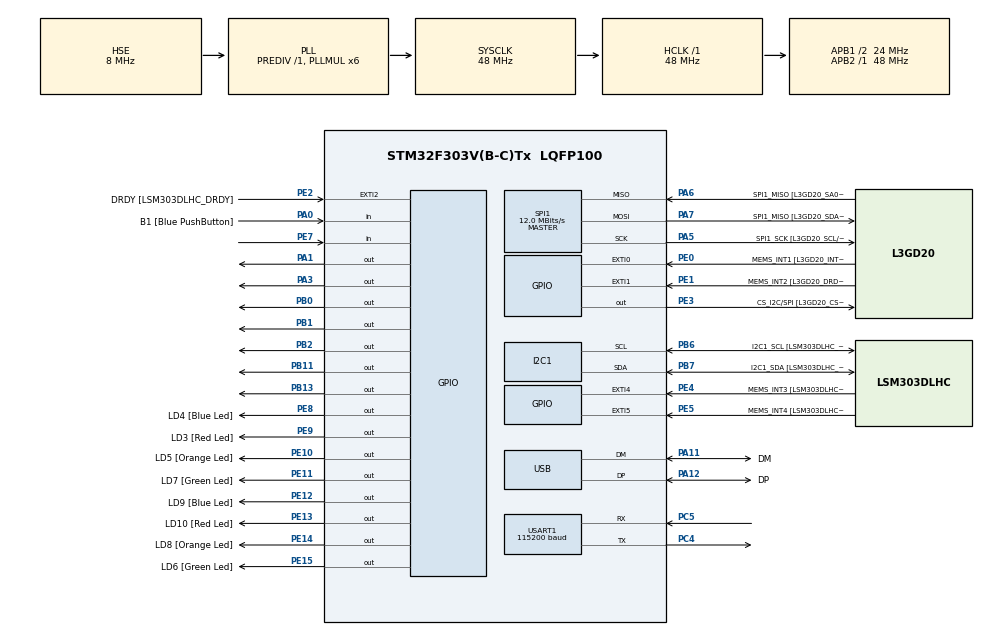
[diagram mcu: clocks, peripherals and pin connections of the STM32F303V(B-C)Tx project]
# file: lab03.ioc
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I2C1.Timing=0x00201D2B
I2C1.Timing-I2C=0x2000090E
Mcu.Family=STM32F3
Mcu.Name=STM32F303V(B-C)Tx
Mcu.Package=LQFP100
NVIC.PriorityGroup=NVIC_PRIORITYGROUP_0
NVIC.USB_LP_CAN_RX0_IRQn=true\:0\:0\:false\:false\:true\:false\:true\:true
PA0.GPIO_Label=B1 [Blue PushButton]
PA0.Signal=GPIO_Input
PA1.Signal=GPIO_Output
PA11.GPIO_Label=DM
PA11.Mode=Device
PA11.Signal=USB_DM
PA12.GPIO_Label=DP
PA12.Mode=Device
PA12.Signal=USB_DP
PA13.GPIO_Label=SWDIO
PA13.Mode=Serial_Wire
PA13.Signal=SYS_JTMS-SWDIO
PA14.GPIO_Label=SWCLK
PA14.Mode=Serial_Wire
PA14.Signal=SYS_JTCK-SWCLK
PA3.Signal=GPIO_Output
PA5.GPIO_Label=SPI1_SCK [L3GD20_SCL/SPC]
PA5.Mode=Full_Duplex_Master
PA5.Signal=SPI1_SCK
PA6.GPIO_Label=SPI1_MISO [L3GD20_SA0/SDO]
PA6.Mode=Full_Duplex_Master
PA6.Signal=SPI1_MISO
PA7.GPIO_Label=SPI1_MISO [L3GD20_SDA/SDI/SDO]
PA7.Mode=Full_Duplex_Master
PA7.Signal=SPI1_MOSI
PB0.Signal=GPIO_Output
PB1.Signal=GPIO_Output
PB11.Signal=GPIO_Output
PB13.Signal=GPIO_Output
PB2.Signal=GPIO_Output
PB3.GPIO_Label=SWO
PB3.Signal=SYS_JTDO-TRACESWO
PB6.GPIO_Label=I2C1_SCL [LSM303DLHC_SCL]
PB6.GPIO_Pu=GPIO_PULLUP
PB6.Mode=I2C
PB6.Signal=I2C1_SCL
PB7.GPIO_Label=I2C1_SDA [LSM303DLHC_SDA]
PB7.GPIO_Pu=GPIO_PULLUP
PB7.Mode=I2C
PB7.Signal=I2C1_SDA
PC14-OSC32_IN.GPIO_Label=OSC32_IN
PC14-OSC32_IN.Signal=RCC_OSC32_IN
PC15-OSC32_OUT.GPIO_Label=OSC32_OUT
PC15-OSC32_OUT.Signal=RCC_OSC32_OUT
PC4.Mode=Asynchronous
PC4.Signal=USART1_TX
PC5.Mode=Asynchronous
PC5.Signal=USART1_RX
PE0.GPIO_Label=MEMS_INT1 [L3GD20_INT1]
PE0.GPIO_ModeDefaultEXTI=GPIO_MODE_EVT_RISING
PE0.Signal=GPXTI0
PE1.GPIO_Label=MEMS_INT2 [L3GD20_DRDY/INT2]
PE1.GPIO_ModeDefaultEXTI=GPIO_MODE_EVT_RISING
PE1.Signal=GPXTI1
PE10.GPIO_Label=LD5 [Orange Led]
PE10.Signal=GPIO_Output
PE11.GPIO_Label=LD7 [Green Led]
PE11.Signal=GPIO_Output
PE12.GPIO_Label=LD9 [Blue Led]
PE12.Signal=GPIO_Output
PE13.GPIO_Label=LD10 [Red Led]
PE13.Signal=GPIO_Output
PE14.GPIO_Label=LD8 [Orange Led]
PE14.Signal=GPIO_Output
PE15.GPIO_Label=LD6 [Green Led]
PE15.Signal=GPIO_Output
PE2.GPIO_Label=DRDY [LSM303DLHC_DRDY]
PE2.GPIO_ModeDefaultEXTI=GPIO_MODE_EVT_RISING
PE2.Signal=GPXTI2
PE3.GPIO_Label=CS_I2C/SPI [L3GD20_CS_I2C/SPI]
PE3.Signal=GPIO_Output
PE4.GPIO_Label=MEMS_INT3 [LSM303DLHC_INT1]
PE4.GPIO_ModeDefaultEXTI=GPIO_MODE_EVT_RISING
PE4.Signal=GPXTI4
PE5.GPIO_Label=MEMS_INT4 [LSM303DLHC_INT2]
PE5.GPIO_ModeDefaultEXTI=GPIO_MODE_EVT_RISING
PE5.Signal=GPXTI5
PE7.Signal=GPIO_Input
PE8.GPIO_Label=LD4 [Blue Led]
PE8.Signal=GPIO_Output
PE9.GPIO_Label=LD3 [Red Led]
PE9.Signal=GPIO_Output
PF0-OSC_IN.GPIO_Label=OSC_IN
PF0-OSC_IN.Mode=HSE-External-Clock-Source
PF0-OSC_IN.Signal=RCC_OSC_IN
PF1-OSC_OUT.GPIO_Label=OSC_OUT
PF1-OSC_OUT.Signal=RCC_OSC_OUT
ProjectManager.HeapSize=0x200
ProjectManager.StackSize=0x400
ProjectManager.TargetToolchain=CMake
RCC.AHBFreq_Value=48000000
RCC.APB1CLKDivider=RCC_HCLK_DIV2
RCC.APB1Freq_Value=24000000
RCC.APB1TimFreq_Value=48000000
RCC.APB2Freq_Value=48000000
RCC.APB2TimFreq_Value=48000000
RCC.CortexFreq_Value=48000000
RCC.HCLKFreq_Value=48000000
RCC.HSE_VALUE=8000000
RCC.HSI_VALUE=8000000
RCC.LSE_VALUE=32768
RCC.PLLMUL=RCC_PLL_MUL6
RCC.SYSCLKFreq_VALUE=48000000
RCC.SYSCLKSourceVirtual=RCC_SYSCLKSOURCE_PLLCLK
RCC.USBFreq_Value=48000000
SPI1.BaudRatePrescaler=SPI_BAUDRATEPRESCALER_4
SPI1.BaudRatePrescaler-Full_Duplex_Master=SPI_BAUDRATEPRESCALER_2
SPI1.CalculateBaudRate=12.0 MBits/s
SPI1.CalculateBaudRate-Full_Duplex_Master=24.0 MBits/s
SPI1.Direction=SPI_DIRECTION_2LINES
SPI1.Mode=SPI_MODE_MASTER
SPI1.Mode-Full_Duplex_Master=SPI_MODE_MASTER
SPI1.VirtualType=VM_MASTER
USART1.BaudRate=115200
USART1.VirtualMode-Asynchronous=VM_ASYNC
USB_DEVICE.CLASS_NAME_FS=CDC
USB_DEVICE.VirtualMode=Cdc
USB_DEVICE.VirtualModeFS=Cdc_FS
VP_USB_DEVICE_VS_USB_DEVICE_CDC_FS.Mode=CDC_FS
board=STM32F3DISCOVERY

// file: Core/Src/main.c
/* USER CODE BEGIN Header */
/**
  ******************************************************************************
  * @file           : main.c
  * @brief          : Main program body
  ******************************************************************************
  * @attention
  *
  * Copyright (c) 2026 STMicroelectronics.
  * All rights reserved.
  *
  * This software is licensed under terms that can be found in the LICENSE file
  * in the root directory of this software component.
  * If no LICENSE file comes with this software, it is provided AS-IS.
  *
  ******************************************************************************
  */
/* USER CODE END Header */
#include "main.h"
#include "usb_device.h"

/* USER CODE BEGIN Includes */
#include <stdlib.h>
/* USER CODE END Includes */

I2C_HandleTypeDef hi2c1;

SPI_HandleTypeDef hspi1;

UART_HandleTypeDef huart1;

void SystemClock_Config(void);
static void MX_GPIO_Init(void);
static void MX_I2C1_Init(void);
static void MX_SPI1_Init(void);
static void MX_USART1_UART_Init(void);
/* USER CODE BEGIN PFP */
void display_number(uint8_t num);
/* USER CODE END PFP */

/* USER CODE BEGIN 0 */
static const uint8_t segment_map[16] = {
  0b01000000,  // 0: segments A,B,C,D,E,F on (G off)
  0b01111001,  // 1: segments B,C on
  0b00100100,  // 2: segments A,B,D,E,G on
  0b00110000,  // 3: segments A,B,C,D,G on
  0b00011001,  // 4: segments B,C,F,G on
  0b00010010,  // 5: segments A,C,D,F,G on
  0b00000010,  // 6: segments A,C,D,E,F,G on
  0b01111000,  // 7: segments A,B,C on
  0b00000000,  // 8: segments A,B,C,D,E,F,G on
  0b00010000,  // 9: segments A,B,C,D,F,G on
  0b00001000,  // A: segments A,B,C,E,F,G on
  0b00000011,  // b: segments C,D,E,F,G on
  0b01000110,  // C: segments A,D,E,F on
  0b00100001,  // d: segments B,C,D,E,G on
  0b00000110,  // E: segments A,D,E,F,G on
  0b00001110   // F: segments A,E,F,G on
};

static GPIO_TypeDef* const gpio_ports[7] = {GPIOB, GPIOB, GPIOB, GPIOB, GPIOB, GPIOA, GPIOA};
static const uint16_t gpio_pins[7] = {GPIO_PIN_11, GPIO_PIN_13, GPIO_PIN_1, GPIO_PIN_2, GPIO_PIN_0, GPIO_PIN_3, GPIO_PIN_1};

void display_number(uint8_t num){
  if (num > 15) return;

  uint8_t pattern = segment_map[num];
  for (int i = 0; i < 7; i++) {
    HAL_GPIO_WritePin(gpio_ports[i], gpio_pins[i], (pattern >> i) & 1);
  }
}

/* USER CODE END 0 */

int main(void)
{

  /* MCU Configuration--------------------------------------------------------*/

  /* Reset of all peripherals, Initializes the Flash interface and the Systick. */
  HAL_Init();

  /* Configure the system clock */
  SystemClock_Config();

  /* Initialize all configured peripherals */
  MX_GPIO_Init();
  MX_I2C1_Init();
  MX_SPI1_Init();
  MX_USART1_UART_Init();
  MX_USB_DEVICE_Init();
  /* USER CODE BEGIN 2 */
  // Task 1
  // uint8_t counter = 0;

  // Task 2
  // const uint8_t sequence[] = {1, 0, 3, 0, 7};
  // uint8_t seq_index = 0;
  // GPIO_PinState last_button_state = GPIO_PIN_SET, current_button_state;
  // display_number(sequence[seq_index]);

  // Task 3
  // uint8_t counter = 0;
  // GPIO_PinState last_pa0 = GPIO_PIN_SET, curr_pa0, last_pe7 = GPIO_PIN_RESET, curr_pe7;
  // display_number(counter);

  // Task 4
  srand(HAL_GetTick());
  uint8_t random_num = rand() % 16;
  GPIO_PinState last_pa0 = GPIO_PIN_SET, curr_pa0;
  display_number(random_num);
  /* USER CODE END 2 */

  /* Infinite loop */
  while (1)
  {

    /* USER CODE BEGIN 3 */
    // Task 1
    // display_number(counter);
    // HAL_Delay(2000);
    // counter++;
    // if (counter > 15) { counter = 0; }

    // Task 2
    // current_button_state = HAL_GPIO_ReadPin(GPIOA, GPIO_PIN_0);
    // if (current_button_state == GPIO_PIN_RESET && last_button_state == GPIO_PIN_SET) {
    //   seq_index = (seq_index + 1) % 5;
    //   display_number(sequence[seq_index]);
    //   HAL_Delay(50);
    // }
    // last_button_state = current_button_state;

    // Task 3
    // curr_pa0 = HAL_GPIO_ReadPin(GPIOA, GPIO_PIN_0);
    // curr_pe7 = HAL_GPIO_ReadPin(GPIOE, GPIO_PIN_7);
    // if (curr_pa0 == GPIO_PIN_RESET && last_pa0 == GPIO_PIN_SET) {
    //   counter++;
    //   if (counter > 15) counter = 0;
    //   display_number(counter);
    //   HAL_Delay(50);
    // }
    // if (curr_pe7 == GPIO_PIN_SET && last_pe7 == GPIO_PIN_RESET) {
    //   if (counter == 0) counter = 16;
    //   counter--;
    //   display_number(counter);
    //   HAL_Delay(50);
    // }
    // last_pa0 = curr_pa0;
    // last_pe7 = curr_pe7;

    // Task 4
    curr_pa0 = HAL_GPIO_ReadPin(GPIOA, GPIO_PIN_0);
    if (curr_pa0 == GPIO_PIN_RESET && last_pa0 == GPIO_PIN_SET) {
      random_num = rand() % 16;
      display_number(random_num);
      HAL_Delay(50);
    }
    last_pa0 = curr_pa0;
  }
  /* USER CODE END 3 */
}

void SystemClock_Config(void)
{
  RCC_OscInitTypeDef RCC_OscInitStruct = {0};
  RCC_ClkInitTypeDef RCC_ClkInitStruct = {0};
  RCC_PeriphCLKInitTypeDef PeriphClkInit = {0};

  /** Initializes the RCC Oscillators according to the specified parameters
  * in the RCC_OscInitTypeDef structure.
  */
  RCC_OscInitStruct.OscillatorType = RCC_OSCILLATORTYPE_HSI|RCC_OSCILLATORTYPE_HSE;
  RCC_OscInitStruct.HSEState = RCC_HSE_BYPASS;
  RCC_OscInitStruct.HSEPredivValue = RCC_HSE_PREDIV_DIV1;
  RCC_OscInitStruct.HSIState = RCC_HSI_ON;
  RCC_OscInitStruct.HSICalibrationValue = RCC_HSICALIBRATION_DEFAULT;
  RCC_OscInitStruct.PLL.PLLState = RCC_PLL_ON;
  RCC_OscInitStruct.PLL.PLLSource = RCC_PLLSOURCE_HSE;
  RCC_OscInitStruct.PLL.PLLMUL = RCC_PLL_MUL6;
  if (HAL_RCC_OscConfig(&RCC_OscInitStruct) != HAL_OK)
  {
    Error_Handler();
  }

  /** Initializes the CPU, AHB and APB buses clocks
  */
  RCC_ClkInitStruct.ClockType = RCC_CLOCKTYPE_HCLK|RCC_CLOCKTYPE_SYSCLK
                              |RCC_CLOCKTYPE_PCLK1|RCC_CLOCKTYPE_PCLK2;
  RCC_ClkInitStruct.SYSCLKSource = RCC_SYSCLKSOURCE_PLLCLK;
  RCC_ClkInitStruct.AHBCLKDivider = RCC_SYSCLK_DIV1;
  RCC_ClkInitStruct.APB1CLKDivider = RCC_HCLK_DIV2;
  RCC_ClkInitStruct.APB2CLKDivider = RCC_HCLK_DIV1;

  if (HAL_RCC_ClockConfig(&RCC_ClkInitStruct, FLASH_LATENCY_1) != HAL_OK)
  {
    Error_Handler();
  }
  PeriphClkInit.PeriphClockSelection = RCC_PERIPHCLK_USB|RCC_PERIPHCLK_USART1
                              |RCC_PERIPHCLK_I2C1;
  PeriphClkInit.Usart1ClockSelection = RCC_USART1CLKSOURCE_PCLK2;
  PeriphClkInit.I2c1ClockSelection = RCC_I2C1CLKSOURCE_HSI;
  PeriphClkInit.USBClockSelection = RCC_USBCLKSOURCE_PLL;
  if (HAL_RCCEx_PeriphCLKConfig(&PeriphClkInit) != HAL_OK)
  {
    Error_Handler();
  }
}

static void MX_I2C1_Init(void)
{

  hi2c1.Instance = I2C1;
  hi2c1.Init.Timing = 0x00201D2B;
  hi2c1.Init.OwnAddress1 = 0;
  hi2c1.Init.AddressingMode = I2C_ADDRESSINGMODE_7BIT;
  hi2c1.Init.DualAddressMode = I2C_DUALADDRESS_DISABLE;
  hi2c1.Init.OwnAddress2 = 0;
  hi2c1.Init.OwnAddress2Masks = I2C_OA2_NOMASK;
  hi2c1.Init.GeneralCallMode = I2C_GENERALCALL_DISABLE;
  hi2c1.Init.NoStretchMode = I2C_NOSTRETCH_DISABLE;
  if (HAL_I2C_Init(&hi2c1) != HAL_OK)
  {
    Error_Handler();
  }

  /** Configure Analogue filter
  */
  if (HAL_I2CEx_ConfigAnalogFilter(&hi2c1, I2C_ANALOGFILTER_ENABLE) != HAL_OK)
  {
    Error_Handler();
  }

  /** Configure Digital filter
  */
  if (HAL_I2CEx_ConfigDigitalFilter(&hi2c1, 0) != HAL_OK)
  {
    Error_Handler();
  }

}

static void MX_SPI1_Init(void)
{

  /* SPI1 parameter configuration*/
  hspi1.Instance = SPI1;
  hspi1.Init.Mode = SPI_MODE_MASTER;
  hspi1.Init.Direction = SPI_DIRECTION_2LINES;
  hspi1.Init.DataSize = SPI_DATASIZE_4BIT;
  hspi1.Init.CLKPolarity = SPI_POLARITY_LOW;
  hspi1.Init.CLKPhase = SPI_PHASE_1EDGE;
  hspi1.Init.NSS = SPI_NSS_SOFT;
  hspi1.Init.BaudRatePrescaler = SPI_BAUDRATEPRESCALER_4;
  hspi1.Init.FirstBit = SPI_FIRSTBIT_MSB;
  hspi1.Init.TIMode = SPI_TIMODE_DISABLE;
  hspi1.Init.CRCCalculation = SPI_CRCCALCULATION_DISABLE;
  hspi1.Init.CRCPolynomial = 7;
  hspi1.Init.CRCLength = SPI_CRC_LENGTH_DATASIZE;
  hspi1.Init.NSSPMode = SPI_NSS_PULSE_ENABLE;
  if (HAL_SPI_Init(&hspi1) != HAL_OK)
  {
    Error_Handler();
  }

}

static void MX_USART1_UART_Init(void)
{

  huart1.Instance = USART1;
  huart1.Init.BaudRate = 115200;
  huart1.Init.WordLength = UART_WORDLENGTH_8B;
  huart1.Init.StopBits = UART_STOPBITS_1;
  huart1.Init.Parity = UART_PARITY_NONE;
  huart1.Init.Mode = UART_MODE_TX_RX;
  huart1.Init.HwFlowCtl = UART_HWCONTROL_NONE;
  huart1.Init.OverSampling = UART_OVERSAMPLING_16;
  huart1.Init.OneBitSampling = UART_ONE_BIT_SAMPLE_DISABLE;
  huart1.AdvancedInit.AdvFeatureInit = UART_ADVFEATURE_NO_INIT;
  if (HAL_UART_Init(&huart1) != HAL_OK)
  {
    Error_Handler();
  }

}

static void MX_GPIO_Init(void)
{
  GPIO_InitTypeDef GPIO_InitStruct = {0};

  /* GPIO Ports Clock Enable */
  __HAL_RCC_GPIOE_CLK_ENABLE();
  __HAL_RCC_GPIOC_CLK_ENABLE();
  __HAL_RCC_GPIOF_CLK_ENABLE();
  __HAL_RCC_GPIOA_CLK_ENABLE();
  __HAL_RCC_GPIOB_CLK_ENABLE();

  /*Configure GPIO pin Output Level */
  HAL_GPIO_WritePin(GPIOE, CS_I2C_SPI_Pin|LD4_Pin|LD3_Pin|LD5_Pin
                          |LD7_Pin|LD9_Pin|LD10_Pin|LD8_Pin
                          |LD6_Pin, GPIO_PIN_RESET);

  /*Configure GPIO pin Output Level */
  HAL_GPIO_WritePin(GPIOA, GPIO_PIN_1|GPIO_PIN_3, GPIO_PIN_RESET);

  /*Configure GPIO pin Output Level */
  HAL_GPIO_WritePin(GPIOB, GPIO_PIN_0|GPIO_PIN_1|GPIO_PIN_2|GPIO_PIN_11
                          |GPIO_PIN_13, GPIO_PIN_RESET);

  /*Configure GPIO pins : DRDY_Pin MEMS_INT3_Pin MEMS_INT4_Pin MEMS_INT1_Pin
                           MEMS_INT2_Pin */
  GPIO_InitStruct.Pin = DRDY_Pin|MEMS_INT3_Pin|MEMS_INT4_Pin|MEMS_INT1_Pin
                          |MEMS_INT2_Pin;
  GPIO_InitStruct.Mode = GPIO_MODE_EVT_RISING;
  GPIO_InitStruct.Pull = GPIO_NOPULL;
  HAL_GPIO_Init(GPIOE, &GPIO_InitStruct);

  /*Configure GPIO pins : CS_I2C_SPI_Pin LD4_Pin LD3_Pin LD5_Pin
                           LD7_Pin LD9_Pin LD10_Pin LD8_Pin
                           LD6_Pin */
  GPIO_InitStruct.Pin = CS_I2C_SPI_Pin|LD4_Pin|LD3_Pin|LD5_Pin
                          |LD7_Pin|LD9_Pin|LD10_Pin|LD8_Pin
                          |LD6_Pin;
  GPIO_InitStruct.Mode = GPIO_MODE_OUTPUT_PP;
  GPIO_InitStruct.Pull = GPIO_NOPULL;
  GPIO_InitStruct.Speed = GPIO_SPEED_FREQ_LOW;
  HAL_GPIO_Init(GPIOE, &GPIO_InitStruct);

  /*Configure GPIO pin : B1_Pin */
  GPIO_InitStruct.Pin = B1_Pin;
  GPIO_InitStruct.Mode = GPIO_MODE_INPUT;
  GPIO_InitStruct.Pull = GPIO_NOPULL;
  HAL_GPIO_Init(B1_GPIO_Port, &GPIO_InitStruct);

  /*Configure GPIO pins : PA1 PA3 */
  GPIO_InitStruct.Pin = GPIO_PIN_1|GPIO_PIN_3;
  GPIO_InitStruct.Mode = GPIO_MODE_OUTPUT_PP;
  GPIO_InitStruct.Pull = GPIO_NOPULL;
  GPIO_InitStruct.Speed = GPIO_SPEED_FREQ_LOW;
  HAL_GPIO_Init(GPIOA, &GPIO_InitStruct);

  /*Configure GPIO pins : PB0 PB1 PB2 PB11
                           PB13 */
  GPIO_InitStruct.Pin = GPIO_PIN_0|GPIO_PIN_1|GPIO_PIN_2|GPIO_PIN_11
                          |GPIO_PIN_13;
  GPIO_InitStruct.Mode = GPIO_MODE_OUTPUT_PP;
  GPIO_InitStruct.Pull = GPIO_NOPULL;
  GPIO_InitStruct.Speed = GPIO_SPEED_FREQ_LOW;
  HAL_GPIO_Init(GPIOB, &GPIO_InitStruct);

  /*Configure GPIO pin : PE7 */
  GPIO_InitStruct.Pin = GPIO_PIN_7;
  GPIO_InitStruct.Mode = GPIO_MODE_INPUT;
  GPIO_InitStruct.Pull = GPIO_PULLDOWN;
  HAL_GPIO_Init(GPIOE, &GPIO_InitStruct);

}

void Error_Handler(void)
{
  __disable_irq();
  while (1)
  {
  }
}
